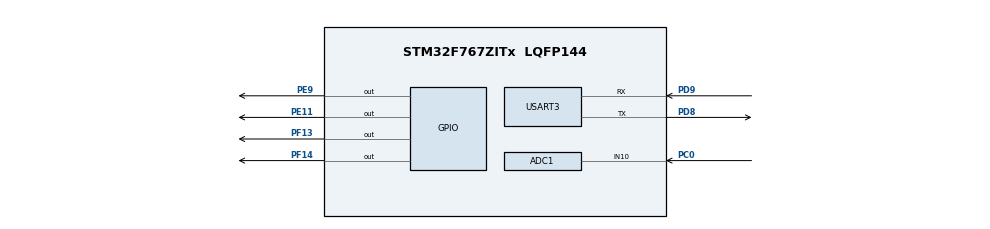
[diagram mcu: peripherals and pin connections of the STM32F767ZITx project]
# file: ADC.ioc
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ADC1.Channel-0\#ChannelRegularConversion=ADC_CHANNEL_10
ADC1.ContinuousConvMode=ENABLE
ADC1.EOCSelection=ADC_EOC_SEQ_CONV
ADC1.NbrOfConversionFlag=1
ADC1.master=1
CORTEX_M7.default_mode_Activation=1
Mcu.Family=STM32F7
Mcu.Name=STM32F767ZITx
Mcu.Package=LQFP144
NVIC.PriorityGroup=NVIC_PRIORITYGROUP_4
NVIC.USART3_IRQn=true\:0\:0\:false\:false\:true\:true\:true\:true
PC0.Signal=ADCx_IN10
PD8.Mode=Asynchronous
PD8.Signal=USART3_TX
PD9.Mode=Asynchronous
PD9.Signal=USART3_RX
PE11.PinState=GPIO_PIN_SET
PE11.Signal=GPIO_Output
PE9.PinState=GPIO_PIN_SET
PE9.Signal=GPIO_Output
PF13.PinState=GPIO_PIN_SET
PF13.Signal=GPIO_Output
PF14.PinState=GPIO_PIN_SET
PF14.Signal=GPIO_Output
ProjectManager.HeapSize=0x200
ProjectManager.StackSize=0x400
ProjectManager.TargetToolchain=STM32CubeIDE
RCC.HSE_VALUE=25000000
RCC.HSI_VALUE=16000000
RCC.LSE_VALUE=32768
RCC.USBFreq_Value=96000000
RCC.VCOOutputFreq_Value=192000000
SH.ADCx_IN10.0=ADC1_IN10,IN10
USART3.VirtualMode-Asynchronous=VM_ASYNC
board=custom

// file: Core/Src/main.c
/* USER CODE BEGIN Header */
/**
  ******************************************************************************
  * @file           : main.c
  * @brief          : Main program body
  ******************************************************************************
  * @attention
  *
  * Copyright (c) 2024 STMicroelectronics.
  * All rights reserved.
  *
  * This software is licensed under terms that can be found in the LICENSE file
  * in the root directory of this software component.
  * If no LICENSE file comes with this software, it is provided AS-IS.
  *
  ******************************************************************************
  */
/* USER CODE END Header */
#include "main.h"
#include "adc.h"
#include "usart.h"
#include "gpio.h"

/* USER CODE BEGIN Includes */
#include "string.h"

int avg8_show = 0;
int avg16_show = 0;
int adc_value_show = 0;

/* USER CODE END Includes */

void SystemClock_Config(void);
static void MPU_Config(void);

/* USER CODE BEGIN 0 */
int average_8(int x) {
    static int samples[8];
    static int i = 0;
    static int total = 0;

    /* Update the moving average */
    total += x - samples[i];
    samples[i] = x;

    /* Update the index */
    i = (i == 7 ? 0 : i + 1);

    return total >> 3;
}

int average_16(int x) {
    static int samples[16];
    static int i = 0;
    static int total = 0;

    /* Update the moving average */
    total += x - samples[i];
    samples[i] = x;

    /* Update the index */
    i = (i == 15 ? 0 : i + 1);

    return total >> 4;
}

float map_value(uint8_t input){
    float y_min = 0.0f;
    float y_max = 3.3f;
    uint8_t x_min = 0x00;
    uint8_t x_max = 0xFF;

    float mapped_value = ((float)(input - x_min) / (x_max - x_min)) * (y_max - y_min) + y_min;

    return mapped_value;
}

float displayHEX(uint8_t num){
    uint8_t text[128];

    float vin = map_value(num);
    sprintf(text, "ADC1 CH10 %08X, Vin = %.2f", num, vin);
    HAL_UART_Transmit(&huart3, text, strlen((char*)text), 100);
    HAL_UART_Transmit(&huart3, "\r\n", 2, 100);
    return vin;
}

void controlLEDs(float vin) {
    if (vin < 0.66) {
        HAL_GPIO_WritePin(GPIOF, GPIO_PIN_13, GPIO_PIN_RESET);
        HAL_GPIO_WritePin(GPIOE, GPIO_PIN_11, GPIO_PIN_RESET);
        HAL_GPIO_WritePin(GPIOF, GPIO_PIN_14, GPIO_PIN_RESET);
        HAL_GPIO_WritePin(GPIOE, GPIO_PIN_9, GPIO_PIN_RESET);
    } else if (vin < 1.32) {
        HAL_GPIO_WritePin(GPIOF, GPIO_PIN_13, GPIO_PIN_SET);
        HAL_GPIO_WritePin(GPIOE, GPIO_PIN_11, GPIO_PIN_RESET);
        HAL_GPIO_WritePin(GPIOF, GPIO_PIN_14, GPIO_PIN_RESET);
        HAL_GPIO_WritePin(GPIOE, GPIO_PIN_9, GPIO_PIN_RESET);
    } else if (vin < 1.98) {
        HAL_GPIO_WritePin(GPIOF, GPIO_PIN_13, GPIO_PIN_SET);
        HAL_GPIO_WritePin(GPIOE, GPIO_PIN_11, GPIO_PIN_SET);
        HAL_GPIO_WritePin(GPIOF, GPIO_PIN_14, GPIO_PIN_RESET);
        HAL_GPIO_WritePin(GPIOE, GPIO_PIN_9, GPIO_PIN_RESET);
    } else if (vin < 2.64) {
        HAL_GPIO_WritePin(GPIOF, GPIO_PIN_13, GPIO_PIN_SET);
        HAL_GPIO_WritePin(GPIOE, GPIO_PIN_11, GPIO_PIN_SET);
        HAL_GPIO_WritePin(GPIOF, GPIO_PIN_14, GPIO_PIN_SET);
        HAL_GPIO_WritePin(GPIOE, GPIO_PIN_9, GPIO_PIN_RESET);
    } else {
        HAL_GPIO_WritePin(GPIOF, GPIO_PIN_13, GPIO_PIN_SET);
        HAL_GPIO_WritePin(GPIOE, GPIO_PIN_11, GPIO_PIN_SET);
        HAL_GPIO_WritePin(GPIOF, GPIO_PIN_14, GPIO_PIN_SET);
        HAL_GPIO_WritePin(GPIOE, GPIO_PIN_9, GPIO_PIN_SET);
    }
}

/* USER CODE END 0 */

int main(void)
{

  /* MPU Configuration--------------------------------------------------------*/
  MPU_Config();

  /* MCU Configuration--------------------------------------------------------*/

  /* Reset of all peripherals, Initializes the Flash interface and the Systick. */
  HAL_Init();

  /* Configure the system clock */
  SystemClock_Config();

  /* Initialize all configured peripherals */
  MX_GPIO_Init();
  MX_ADC1_Init();
  MX_USART3_UART_Init();

  /* Infinite loop */
  /* USER CODE BEGIN WHILE */
  volatile uint32_t adc_value = 0;
  HAL_ADC_Start(&hadc1);
  while (1)
  {
    /* USER CODE END WHILE */

    /* USER CODE BEGIN 3 */
	while (HAL_ADC_PollForConversion(&hadc1, 100) != HAL_OK) {}
	adc_value = HAL_ADC_GetValue(&hadc1);
	adc_value_show = HAL_ADC_GetValue(&hadc1);
	avg8_show = average_8(adc_value);
	avg16_show = average_16(adc_value);
	uint8_t avg8_adc = average_16(adc_value);
	float vin = displayHEX(avg8_adc);
	controlLEDs(vin);
	HAL_Delay(500);

  }
  /* USER CODE END 3 */
}

void SystemClock_Config(void)
{
  RCC_OscInitTypeDef RCC_OscInitStruct = {0};
  RCC_ClkInitTypeDef RCC_ClkInitStruct = {0};

  /** Configure the main internal regulator output voltage
  */
  __HAL_RCC_PWR_CLK_ENABLE();
  __HAL_PWR_VOLTAGESCALING_CONFIG(PWR_REGULATOR_VOLTAGE_SCALE3);

  /** Initializes the RCC Oscillators according to the specified parameters
  * in the RCC_OscInitTypeDef structure.
  */
  RCC_OscInitStruct.OscillatorType = RCC_OSCILLATORTYPE_HSI;
  RCC_OscInitStruct.HSIState = RCC_HSI_ON;
  RCC_OscInitStruct.HSICalibrationValue = RCC_HSICALIBRATION_DEFAULT;
  RCC_OscInitStruct.PLL.PLLState = RCC_PLL_NONE;
  if (HAL_RCC_OscConfig(&RCC_OscInitStruct) != HAL_OK)
  {
    Error_Handler();
  }

  /** Initializes the CPU, AHB and APB buses clocks
  */
  RCC_ClkInitStruct.ClockType = RCC_CLOCKTYPE_HCLK|RCC_CLOCKTYPE_SYSCLK
                              |RCC_CLOCKTYPE_PCLK1|RCC_CLOCKTYPE_PCLK2;
  RCC_ClkInitStruct.SYSCLKSource = RCC_SYSCLKSOURCE_HSI;
  RCC_ClkInitStruct.AHBCLKDivider = RCC_SYSCLK_DIV1;
  RCC_ClkInitStruct.APB1CLKDivider = RCC_HCLK_DIV1;
  RCC_ClkInitStruct.APB2CLKDivider = RCC_HCLK_DIV1;

  if (HAL_RCC_ClockConfig(&RCC_ClkInitStruct, FLASH_LATENCY_0) != HAL_OK)
  {
    Error_Handler();
  }
}

 /* MPU Configuration */

void MPU_Config(void)
{
  MPU_Region_InitTypeDef MPU_InitStruct = {0};

  /* Disables the MPU */
  HAL_MPU_Disable();

  /** Initializes and configures the Region and the memory to be protected
  */
  MPU_InitStruct.Enable = MPU_REGION_ENABLE;
  MPU_InitStruct.Number = MPU_REGION_NUMBER0;
  MPU_InitStruct.BaseAddress = 0x0;
  MPU_InitStruct.Size = MPU_REGION_SIZE_4GB;
  MPU_InitStruct.SubRegionDisable = 0x87;
  MPU_InitStruct.TypeExtField = MPU_TEX_LEVEL0;
  MPU_InitStruct.AccessPermission = MPU_REGION_NO_ACCESS;
  MPU_InitStruct.DisableExec = MPU_INSTRUCTION_ACCESS_DISABLE;
  MPU_InitStruct.IsShareable = MPU_ACCESS_SHAREABLE;
  MPU_InitStruct.IsCacheable = MPU_ACCESS_NOT_CACHEABLE;
  MPU_InitStruct.IsBufferable = MPU_ACCESS_NOT_BUFFERABLE;

  HAL_MPU_ConfigRegion(&MPU_InitStruct);
  /* Enables the MPU */
  HAL_MPU_Enable(MPU_PRIVILEGED_DEFAULT);

}

void Error_Handler(void)
{
  __disable_irq();
  while (1)
  {
  }
}
